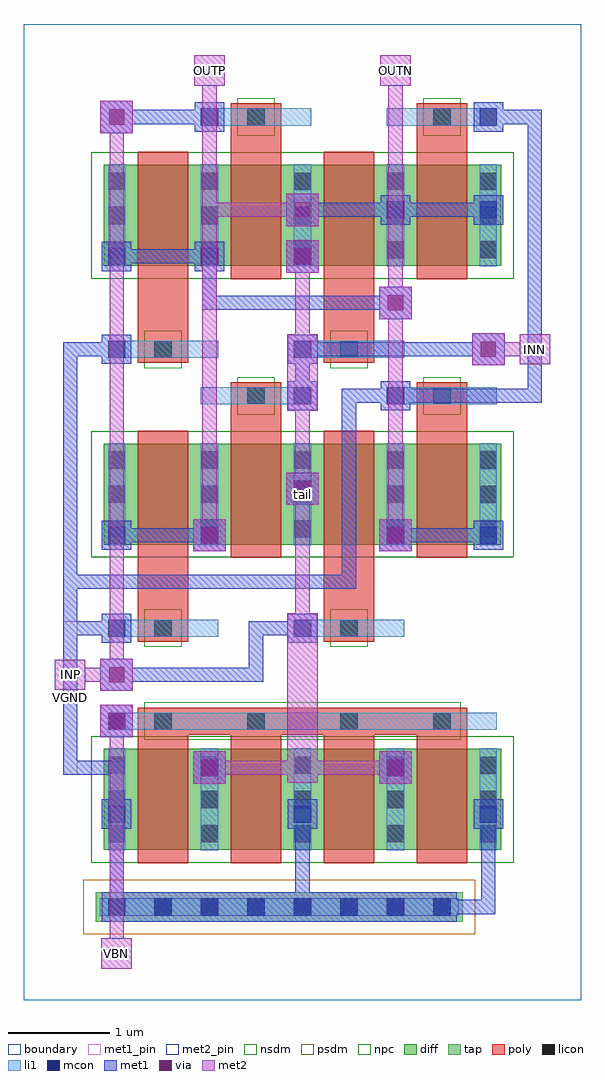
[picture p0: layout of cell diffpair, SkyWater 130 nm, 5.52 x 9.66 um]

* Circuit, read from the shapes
.subckt diffpair INN INP OUTN OUTP VBN VGND tail
XM1 tail VBN VGND VGND sky130_fd_pr__nfet_01v8 w=1 l=0.5 m=4
XM2 OUTP VGND OUTP VGND sky130_fd_pr__nfet_01v8 w=1 l=0.5 m=2
XM3 OUTN VGND OUTN VGND sky130_fd_pr__nfet_01v8 w=1 l=0.5 m=2
XM4 tail INN OUTP VGND sky130_fd_pr__nfet_01v8 w=1 l=0.5 m=2
XM5 tail INP OUTN VGND sky130_fd_pr__nfet_01v8 w=1 l=0.5 m=2
.ends

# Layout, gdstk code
import gdstk
lib = gdstk.Library(unit=1e-6, precision=1e-09)
def R(c, l, rs):  # rectangles x0, y0, x1, y1
    for r in rs: c.add(gdstk.rectangle(r[:2], r[2:], *l))
def A(c, l, x, y, w, h, nx, ny, dx, dy):  # array of equal rectangles
    R(c, l, [(x+i*dx, y+j*dy, x+i*dx+w, y+j*dy+h) for i in range(nx) for j in range(ny)])
diff = (65, 20)
tap = (65, 44)
poly = (66, 20)
licon = (66, 44)
li1 = (67, 20)
mcon = (67, 44)
met1_pin = (68, 16)
met1 = (68, 20)
via = (68, 44)
met2_pin = (69, 16)
met2 = (69, 20)
nsdm = (93, 44)
psdm = (94, 20)
npc = (95, 20)
boundary = (235, 4)

diffpair = lib.new_cell('diffpair')
R(diffpair, diff, [(0.795,1.485,4.725,2.485), (0.795,4.505,4.725,5.505), (0.795,7.265,4.725,8.265)])
R(diffpair, tap, [(0.715,0.775,4.345,1.065)])
A(diffpair, poly, 1.13, 1.355, 0.5, 1.405, 4, 1, 0.92, 0)
R(diffpair, poly, [(1.13,2.625,4.39,2.895), (1.13,3.545,1.63,3.815), (2.97,3.545,3.47,3.815), (1.13,3.68,1.63,5.635), (2.97,3.68,3.47,5.635), (2.05,4.375,2.55,5.98), (3.89,4.375,4.39,5.98), (2.05,5.845,2.55,6.115), (3.89,5.845,4.39,6.115), (1.13,6.305,1.63,6.575), (2.97,6.305,3.47,6.575), (1.13,6.44,1.63,8.395), (2.97,6.44,3.47,8.395), (2.05,7.135,2.55,8.74), (3.89,7.135,4.39,8.74), (2.05,8.605,2.55,8.875), (3.89,8.605,4.39,8.875)])
A(diffpair, licon, 0.835, 0.835, 0.17, 0.17, 8, 1, 0.46, 0)
A(diffpair, licon, 0.835, 1.56, 0.17, 0.17, 5, 3, 0.92, 0.34)
A(diffpair, licon, 1.295, 2.675, 0.17, 0.17, 4, 1, 0.92, 0)
A(diffpair, licon, 0.835, 4.58, 0.17, 0.17, 5, 3, 0.92, 0.34)
A(diffpair, licon, 0.835, 7.34, 0.17, 0.17, 5, 3, 0.92, 0.34)
R(diffpair, licon, [(1.295,3.595,1.465,3.765), (3.135,3.595,3.305,3.765), (2.215,5.895,2.385,6.065), (4.055,5.895,4.225,6.065), (1.295,6.355,1.465,6.525), (3.135,6.355,3.305,6.525), (2.215,8.655,2.385,8.825), (4.055,8.655,4.225,8.825)])
A(diffpair, li1, 0.835, 1.48, 0.17, 1.01, 5, 2, 0.92, 3.02)
A(diffpair, li1, 0.835, 7.26, 0.17, 1.01, 5, 1, 0.92, 0)
R(diffpair, li1, [(0.755,0.835,4.305,1.005), (0.835,2.675,4.685,2.845), (0.835,3.595,1.925,3.765), (2.675,3.595,3.765,3.765), (1.755,5.895,2.845,6.065), (3.595,5.895,4.685,6.065), (0.835,6.355,1.925,6.525), (2.675,6.355,3.765,6.525), (1.755,8.655,2.845,8.825), (3.595,8.655,4.685,8.825)])
A(diffpair, mcon, 0.835, 0.835, 0.17, 0.17, 8, 1, 0.46, 0)
A(diffpair, mcon, 0.835, 1.755, 0.17, 0.17, 3, 1, 1.84, 0)
A(diffpair, mcon, 0.835, 2.675, 0.17, 0.17, 1, 3, 0, 0.92)
A(diffpair, mcon, 0.835, 7.275, 0.17, 0.17, 3, 1, 0.92, 0)
R(diffpair, mcon, [(1.755,2.215,1.925,2.385), (3.595,2.215,3.765,2.385), (2.675,3.595,2.845,3.765), (1.755,4.515,1.925,4.685), (3.595,4.515,3.765,4.685), (4.515,4.515,4.685,4.685), (2.675,4.975,2.845,5.145), (2.675,5.895,2.845,6.065), (3.595,5.895,3.765,6.065), (0.835,6.355,1.005,6.525), (2.675,6.355,2.845,6.525), (3.595,7.735,3.765,7.905), (4.515,7.735,4.685,7.905), (1.755,8.655,1.925,8.825), (4.515,8.655,4.685,8.825)])
R(diffpair, met1_pin, [(0.39,2.23,0.53,3.75)])
A(diffpair, met1, 0.85, 0.85, 0.14, 1.06, 3, 1, 1.84, 0)
A(diffpair, met1, 0.775, 1.695, 0.29, 0.29, 3, 1, 1.84, 0)
A(diffpair, met1, 3.52, 2.14, 0.32, 0.32, 1, 3, 0, 2.3)
A(diffpair, met1, 0.775, 2.615, 0.29, 0.29, 1, 3, 0, 0.92)
A(diffpair, met1, 0.775, 7.215, 0.29, 0.29, 3, 1, 0.92, 0)
R(diffpair, met1, [(0.775,0.775,4.285,1.065), (0.85,0.85,2.83,0.99), (0.85,0.85,0.99,0.99), (2.69,0.85,4.67,0.99), (0.85,1.77,0.99,2.37), (1.68,2.14,2,2.46), (1.695,2.155,1.985,2.445), (3.535,2.155,3.825,2.445), (0.39,2.23,0.99,2.37), (0.39,2.23,0.53,3.75), (0.76,2.6,1.08,2.92), (0.76,3.06,1.08,3.38), (0.85,3.15,2.37,3.29), (2.23,3.15,2.37,3.75), (2.615,3.535,2.905,3.825), (0.39,3.61,0.99,3.75), (0.39,3.61,0.53,6.51), (2.23,3.61,2.83,3.75), (0.39,4.07,3.29,4.21), (3.15,4.07,3.29,6.05), (1.68,4.44,2,4.76), (1.695,4.455,1.985,4.745), (3.535,4.455,3.825,4.745), (4.455,4.455,4.745,4.745), (0.85,4.53,1.91,4.67), (3.61,4.53,4.67,4.67), (2.6,4.9,2.92,5.22), (2.615,4.915,2.905,5.205), (2.615,5.835,2.905,6.125), (3.535,5.835,3.825,6.125), (2.69,5.91,2.83,6.51), (3.15,5.91,3.75,6.05), (3.61,5.91,5.13,6.05), (4.99,5.91,5.13,8.81), (4.44,6.28,4.76,6.6), (0.775,6.295,1.065,6.585), (2.615,6.295,2.905,6.585), (0.39,6.37,0.99,6.51), (2.69,6.37,4.67,6.51), (1.77,6.83,3.75,6.97), (1.77,6.83,1.91,7.43), (2.6,7.2,2.92,7.52), (0.85,7.29,1.91,7.43), (2.6,7.66,2.92,7.98), (3.535,7.675,3.825,7.965), (4.455,7.675,4.745,7.965), (2.69,7.75,3.75,7.89), (3.61,7.75,4.67,7.89), (0.76,8.58,1.08,8.9), (1.695,8.595,1.985,8.885), (4.455,8.595,4.745,8.885), (0.85,8.67,1.91,8.81), (4.53,8.67,5.13,8.81)])
A(diffpair, via, 3.605, 2.225, 0.15, 0.15, 1, 3, 0, 2.3)
R(diffpair, via, [(1.765,2.225,1.915,2.375), (0.845,2.685,0.995,2.835), (0.845,3.145,0.995,3.295), (1.765,4.525,1.915,4.675), (2.685,4.985,2.835,5.135), (4.525,6.365,4.675,6.515), (2.685,7.285,2.835,7.435), (2.685,7.745,2.835,7.895), (0.845,8.665,0.995,8.815)])
R(diffpair, met2_pin, [(0.77,0.31,1.07,0.61), (0.31,3.07,0.61,3.37), (4.91,6.29,5.21,6.59), (1.69,9.05,1.99,9.35), (3.53,9.05,3.83,9.35)])
A(diffpair, met2, 3.52, 2.14, 0.32, 0.32, 1, 3, 0, 2.3)
R(diffpair, met2, [(0.77,0.31,1.07,0.61), (0.85,0.39,0.99,0.53), (0.85,0.39,0.99,2.83), (1.68,2.14,2,2.46), (2.61,2.15,2.91,3.83), (1.77,2.23,2.83,2.37), (2.69,2.23,3.75,2.37), (0.76,2.6,1.08,2.92), (0.76,3.06,1.08,3.38), (0.31,3.07,0.61,3.37), (0.39,3.15,0.53,3.29), (0.39,3.15,0.99,3.29), (0.85,3.15,0.99,8.81), (2.69,3.61,2.83,5.13), (1.68,4.44,2,4.76), (1.77,4.53,1.91,9.27), (3.61,4.53,3.75,9.27), (2.6,4.9,2.92,5.22), (2.69,4.99,2.83,6.05), (2.61,5.83,2.91,6.59), (4.44,6.28,4.76,6.6), (4.91,6.29,5.21,6.59), (2.69,6.37,2.83,7.43), (4.53,6.37,5.13,6.51), (4.99,6.37,5.13,6.51), (2.6,7.2,2.92,7.52), (2.6,7.66,2.92,7.98), (1.77,7.75,2.83,7.89), (0.76,8.58,1.08,8.9), (1.69,9.05,1.99,9.35), (3.53,9.05,3.83,9.35), (1.77,9.13,1.91,9.27), (3.61,9.13,3.75,9.27)])
R(diffpair, nsdm, [(0.67,1.36,4.85,2.61), (0.67,4.38,4.85,5.63), (0.67,7.14,4.85,8.39)])
R(diffpair, psdm, [(0.59,0.65,4.47,1.19)])
R(diffpair, npc, [(1.195,2.575,4.325,2.945), (1.195,3.495,1.565,3.865), (3.035,3.495,3.405,3.865), (2.115,5.795,2.485,6.165), (3.955,5.795,4.325,6.165), (1.195,6.255,1.565,6.625), (3.035,6.255,3.405,6.625), (2.115,8.555,2.485,8.925), (3.955,8.555,4.325,8.925)])
R(diffpair, boundary, [(0,0,5.52,9.66)])
diffpair.add(gdstk.Label('tail', (2.76,5.005), layer=67, texttype=5))
diffpair.add(gdstk.Label('VGND', (0.46,2.99), layer=68, texttype=5))
diffpair.add(gdstk.Label('INP', (0.46,3.22), layer=69, texttype=5))
diffpair.add(gdstk.Label('INN', (5.06,6.44), layer=69, texttype=5))
diffpair.add(gdstk.Label('VBN', (0.92,0.46), layer=69, texttype=5))
diffpair.add(gdstk.Label('OUTP', (1.84,9.2), layer=69, texttype=5))
diffpair.add(gdstk.Label('OUTN', (3.68,9.2), layer=69, texttype=5))
diffpair.add(gdstk.Label('VGND', (0.46,2.99), layer=68, texttype=16))
diffpair.add(gdstk.Label('INP', (0.46,3.22), layer=69, texttype=16))
diffpair.add(gdstk.Label('INN', (5.06,6.44), layer=69, texttype=16))
diffpair.add(gdstk.Label('VBN', (0.92,0.46), layer=69, texttype=16))
diffpair.add(gdstk.Label('OUTP', (1.84,9.2), layer=69, texttype=16))
diffpair.add(gdstk.Label('OUTN', (3.68,9.2), layer=69, texttype=16))

lib.write_gds('diffpair.gds')
